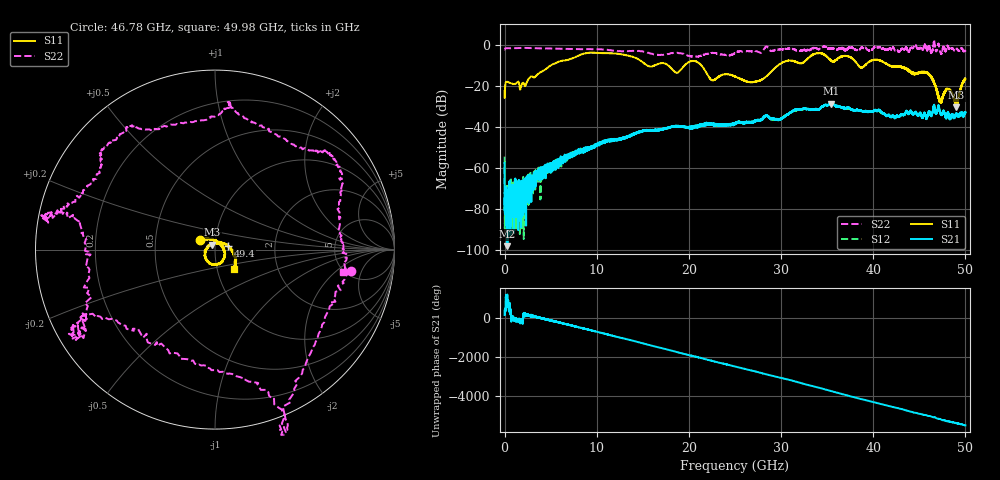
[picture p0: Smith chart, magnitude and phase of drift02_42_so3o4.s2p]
!Created with skrf (http://scikit-rf.org).
# Hz S RI R 50.0
!freq ReS11 ImS11 ReS21 ImS21 ReS12 ImS12 ReS22 ImS22
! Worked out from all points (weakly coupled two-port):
!   10001 points, 300 kHz to 50 GHz, reference 50 ohm
!   highest |S21| = -28.57 dB at 35.39 GHz (marker M1); lowest = -98.2 dB at 305.3 MHz (marker M2)
!   lowest |S11| = -30.3 dB at 49.02 GHz (marker M3), VSWR 1.06, Z = 48.5 + j2.59 ohm
!   |S11| at or under -10 dB: start of sweep to 4.957 GHz; 21.38 GHz to 29.63 GHz (8.251 GHz wide, 32.3 % of centre); 41.84 GHz to end of sweep (the widest 3 of 10)
!   |S22| runs from -5.7 to 2.3 dB; largest |S21 - S12| = 0.0033
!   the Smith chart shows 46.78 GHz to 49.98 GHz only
!   S11 on the Smith chart (normalised r, x): 46.78 GHz: 0.84, +0.09; 49.4 GHz: 1.16, +0.05; 49.98 GHz: 1.20, -0.27
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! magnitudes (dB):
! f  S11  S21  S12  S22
! 300 kHz  -22.4  -57.5  -54.4  -2.1
! 305.3 MHz  -17.9  -98.2  -73.8  -1.4
! 1.87 GHz  -19.1  -74.6  -66.9  -1.3
! 3.64 GHz  -14.0  -60.6  -59.9  -1.5
! 8.335 GHz  -4.5  -52.0  -51.7  -1.9
! 16.67 GHz  -9.1  -41.3  -41.3  -4.7
! 18.7 GHz  -13.5  -39.5  -39.5  -3.7
! 20.6 GHz  -7.7  -39.9  -39.5  -5.7
! 22.51 GHz  -17.1  -38.9  -38.5  -3.7
! 25 GHz  -15.3  -38.2  -38.2  -3.9
! 27.47 GHz  -17.6  -36.6  -36.6  -3.2
! 33.34 GHz  -4.9  -31.4  -31.3  -1.6
! 35.39 GHz  -7.4  -28.6  -28.8  -1.5
! 41.67 GHz  -9.6  -34.1  -34.1  -1.9
! 45.79 GHz  -13.5  -35.8  -35.8  -2.3
! 46.78 GHz  -20.1  -33.1  -32.7  -2.3
! 47.28 GHz  -27.4  -33.2  -33.1  -3.3
! 48.13 GHz  -21.4  -33.4  -33.2  -0.6
! 49.02 GHz  -30.3  -33.7  -33.7  -2.0
! 49.4 GHz  -22.3  -34.6  -34.3  -2.6
! 49.98 GHz  -16.4  -32.9  -32.6  -2.8
! 50 GHz  -16.5  -32.9  -32.7  -2.6
